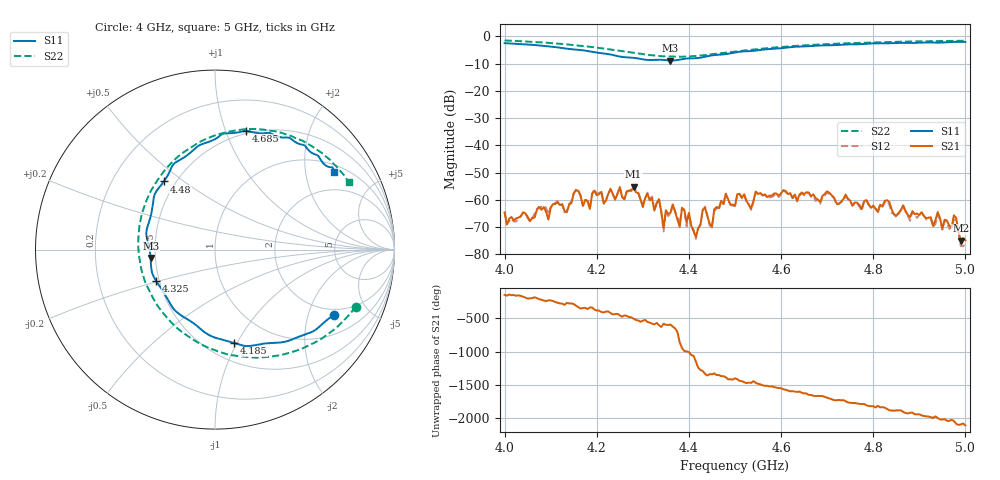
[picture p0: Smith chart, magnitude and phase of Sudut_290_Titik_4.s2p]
# Hz S RI R 50
! CMT, C1220, 16058040, 17.2.0/1
! Date: 15/08/2018 12:33:46
! Data: Format (Calibration Info)
! Freq  S11: Re/Im (F2)  S21: Re/Im (F2)  S12: Re/Im (F2)  S22: Re/Im (F2)
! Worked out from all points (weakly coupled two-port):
!   201 points, 4 GHz to 5 GHz, reference 50 ohm
!   highest |S21| = -55.16 dB at 4.28 GHz (marker M1); lowest = -75.0 dB at 4.99 GHz (marker M2)
!   lowest |S11| = -8.8 dB at 4.36 GHz (marker M3), VSWR 2.13, Z = 23.5 - j2.52 ohm
!   |S11| at or under -10 dB: nowhere
!   |S22| runs from -7.5 to -1.5 dB; largest |S21 - S12| = 0.00013
!   S11 on the Smith chart (normalised r, x): 4 GHz: 1.74, -2.94; 4.185 GHz: 0.67, -0.98; 4.325 GHz: 0.48, -0.19; 4.48 GHz: 0.43, +0.42; 4.685 GHz: 0.47, +1.18; 5 GHz: 1.22, +2.89
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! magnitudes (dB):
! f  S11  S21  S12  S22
! 4 GHz  -2.5  -64.8  -64.2  -1.5
! 4.095 GHz  -3.6  -67.3  -65.2  -2.3
! 4.155 GHz  -4.8  -56.5  -56.3  -3.2
! 4.17 GHz  -5.1  -62.3  -61.9  -3.5
! 4.185 GHz  -5.5  -63.4  -63.0  -3.8
! 4.28 GHz  -7.9  -55.2  -54.6  -6.0
! 4.325 GHz  -8.6  -63.9  -63.7  -7.0
! 4.335 GHz  -8.5  -59.8  -59.8  -7.2
! 4.345 GHz  -8.6  -70.3  -71.6  -7.3
! 4.36 GHz  -8.8  -64.8  -65.0  -7.4
! 4.4 GHz  -8.0  -64.8  -65.0  -7.3
! 4.415 GHz  -8.0  -73.6  -74.3  -7.2
! 4.435 GHz  -7.4  -62.9  -62.5  -6.8
! 4.45 GHz  -6.9  -69.8  -70.2  -6.6
! 4.48 GHz  -6.5  -57.8  -57.7  -6.0
! 4.5 GHz  -5.9  -62.3  -62.2  -5.6
! 4.67 GHz  -3.4  -58.0  -58.5  -3.1
! 4.685 GHz  -3.3  -60.8  -61.4  -2.9
! 4.835 GHz  -2.5  -60.8  -61.8  -2.0
! 4.98 GHz  -2.0  -66.7  -67.4  -1.6
! 4.99 GHz  -2.0  -75.0  -76.9  -1.6
! 5 GHz  -2.0  -74.9  -76.4  -1.6
